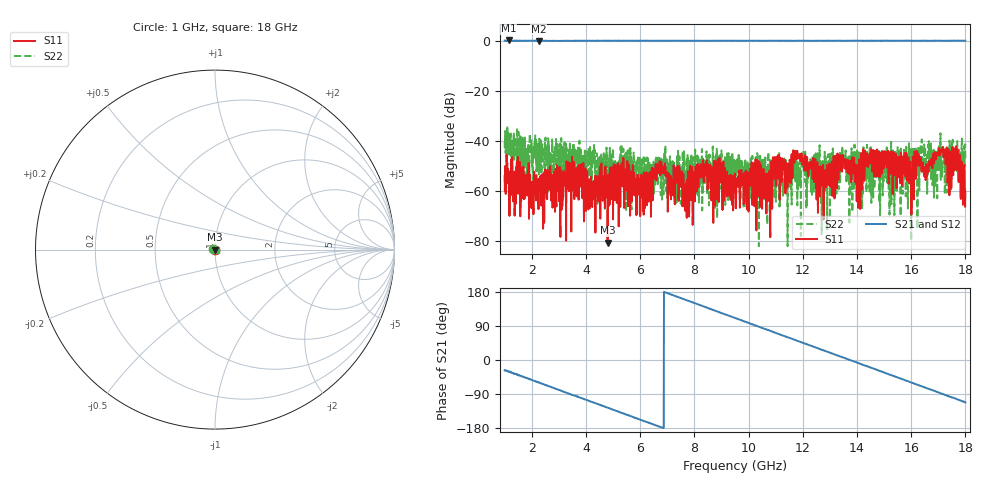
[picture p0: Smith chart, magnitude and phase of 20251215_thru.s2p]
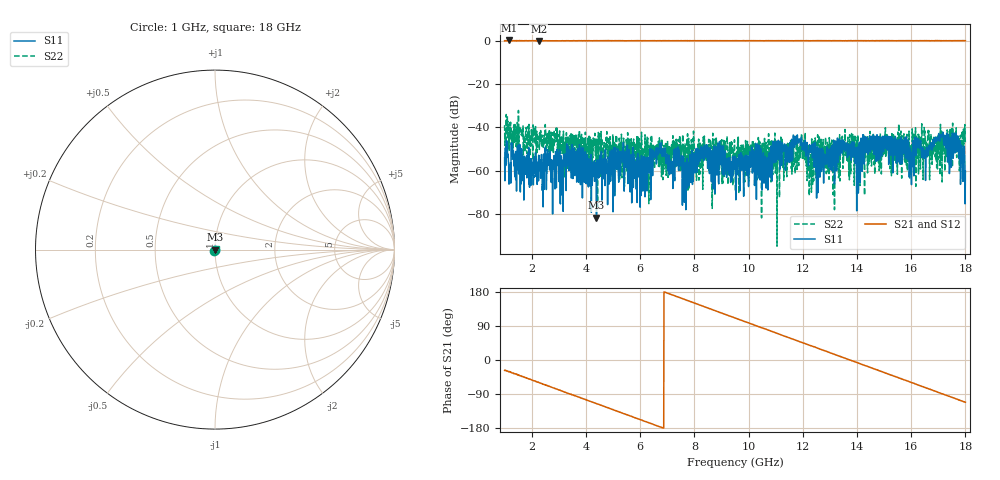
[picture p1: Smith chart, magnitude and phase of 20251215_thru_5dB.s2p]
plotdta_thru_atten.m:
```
clear all
close all
clc

function plot_thru_s2p(s2p_filename)
    s2p_data = sparameters(s2p_filename);
    thru_phase = angle(s2p_data.Parameters(1,2,:));
    thru_mag = abs(s2p_data.Parameters(1,2,:));
    subplot(1,2,1)
    hold on
    plot(s2p_data.Frequencies,10*log10(thru_mag(:)),'DisplayName',s2p_filename)
    subplot(1,2,2)
    hold on
    plot(s2p_data.Frequencies,thru_phase(:),'DisplayName',s2p_filename)
end

plot_thru_s2p('20251215_thru.s2p');
plot_thru_s2p('20251215_thru_5dB.s2p');
plot_thru_s2p('20251215_thru_10dB.s2p');
plot_thru_s2p('20251215_thru_15dB.s2p');
plot_thru_s2p('20251215_thru_20dB.s2p');
plot_thru_s2p('20251215_thru_25dB.s2p');
plot_thru_s2p('20251215_thru_30dB.s2p');
subplot(1,2,1)
legend
subplot(1,2,2)
legend
```
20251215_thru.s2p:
#  HZ  S  DB  R  50.00
! Rohde & Schwarz ZVA40 4Ports - Version 4.11 - 1145.1110k42 SN: 100337
! Date: 2025-12-16 12:52:05
! Measurements: S11 S41 S14 S44
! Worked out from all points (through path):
!   1701 points, 1 GHz to 18 GHz, reference 50 ohm
!   highest |S21| = 0.17 dB at 1.15 GHz (marker M1); lowest = -0.1 dB at 2.26 GHz (marker M2)
!   group delay of S21, straight-line fit = 72.7 ps
!   lowest |S11| = -80.8 dB at 4.8 GHz (marker M3), VSWR 1.00, Z = 50 - j0.00526 ohm
!   |S11| at or under -10 dB: start of sweep to end of sweep
!   |S22| runs from -82.2 to -34.0 dB; largest |S21 - S12| = 0.024
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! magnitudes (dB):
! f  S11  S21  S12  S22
! 1 GHz  -54.1  0.1  0.0  -40.6
! 1.15 GHz  -52.1  0.2  0.0  -44.8
! 2.26 GHz  -55.4  -0.1  0.0  -53.5
! 4.8 GHz  -80.8  0.0  0.0  -58.1
! 6.71 GHz  -49.6  0.0  0.0  -47.1
! 7.64 GHz  -64.0  0.0  0.0  -53.3
! 9.5 GHz  -53.1  0.1  0.0  -52.2
! 11.73 GHz  -44.1  0.0  0.0  -46.5
! 14.05 GHz  -66.9  0.1  0.0  -44.7
! 17.09 GHz  -43.7  0.0  0.0  -55.7
! 18 GHz  -60.4  0.1  0.0  -47.8
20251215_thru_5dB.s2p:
#  HZ  S  DB  R  50.00
! Rohde & Schwarz ZVA40 4Ports - Version 4.11 - 1145.1110k42 SN: 100337
! Date: 2025-12-16 12:52:20
! Measurements: S11 S41 S14 S44
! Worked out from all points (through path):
!   1701 points, 1 GHz to 18 GHz, reference 50 ohm
!   highest |S21| = 0.15 dB at 1.15 GHz (marker M1); lowest = -0.1 dB at 2.26 GHz (marker M2)
!   group delay of S21, straight-line fit = 72.7 ps
!   lowest |S11| = -81.8 dB at 4.39 GHz (marker M3), VSWR 1.00, Z = 50 + j0.00349 ohm
!   |S11| at or under -10 dB: start of sweep to end of sweep
!   |S22| runs from -94.9 to -32.2 dB; largest |S21 - S12| = 0.027
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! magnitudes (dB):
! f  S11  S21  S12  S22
! 1 GHz  -54.2  0.0  0.0  -39.0
! 1.15 GHz  -57.8  0.2  -0.1  -47.5
! 2.26 GHz  -52.9  -0.1  -0.1  -45.0
! 4.39 GHz  -81.8  0.0  0.0  -49.4
! 6.71 GHz  -50.5  0.0  0.0  -44.9
! 7.64 GHz  -59.4  0.0  0.0  -50.3
! 8.39 GHz  -50.8  0.0  0.0  -48.3
! 9.5 GHz  -53.2  0.0  0.0  -51.9
! 11.73 GHz  -45.0  0.1  0.0  -58.5
! 17.09 GHz  -43.4  0.0  0.0  -55.2
! 18 GHz  -60.3  0.1  0.0  -47.6
